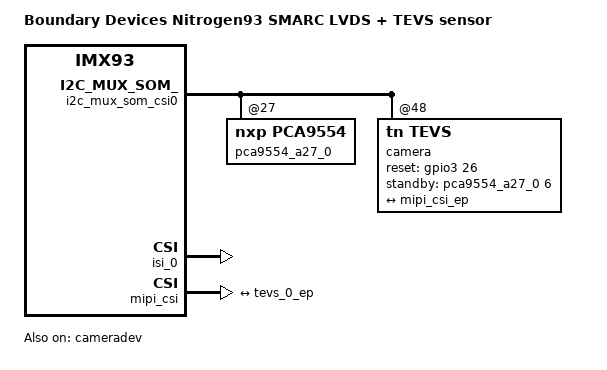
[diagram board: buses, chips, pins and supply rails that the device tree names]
// SPDX-License-Identifier: (GPL-2.0+ OR MIT)
/*
 * Copyright 2024 Ezurio LLC
 */

#include "imx93-nitrogen-smarc-lvds.dts"

/ {
	model = "Boundary Devices Nitrogen93 SMARC LVDS + TEVS sensor";
	compatible = "fsl,imx93-nitrogen-smarc-lvds-tevs", "fsl,imx93";
};

&i2c_mux_som_csi0 {
	pca9554_a27_0: pca9554@27 {
		compatible = "nxp,pca9554";
		pinctrl-names = "default";
		reg = <0x27>;
		gpio-controller;
		#gpio-cells = <2>;
		status = "okay";
		gpio-line-names = "EXPOSURE_TRIG_IN0", "FLASH_OUT0",
				"CAM_SHUTTER0", "XVS0",	"CSI0_PDB",
				"CSI0_INT", "INFO_TRIG_IN0", "CSI0_RST_N";
	};

	camera@48 {
		compatible = "tn,tevs";
		reg = <0x48>;
		reset-gpios = <&gpio3 26 GPIO_ACTIVE_HIGH>;
		standby-gpios = <&pca9554_a27_0 6 GPIO_ACTIVE_HIGH>;
		data-lanes = <2>;
		data-frequency = <800>;
		continuous-clock = <0>;
		status = "okay";

		port {
			tevs_0_ep: endpoint {
				remote-endpoint = <&mipi_csi_ep>;
			};
		};
	};
};

&cameradev {
	status = "okay";
};

&isi_0 {
	status = "okay";

	cap_device {
		status = "okay";
	};
};

&mipi_csi {
	status = "okay";

	port {
		mipi_csi_ep: endpoint {
			remote-endpoint = <&tevs_0_ep>;
			data-lanes = <2>;
			cfg-clk-range = <28>;
			hs-clk-range = <0x16>;
			bus-type = <4>;
		};
	};
};
